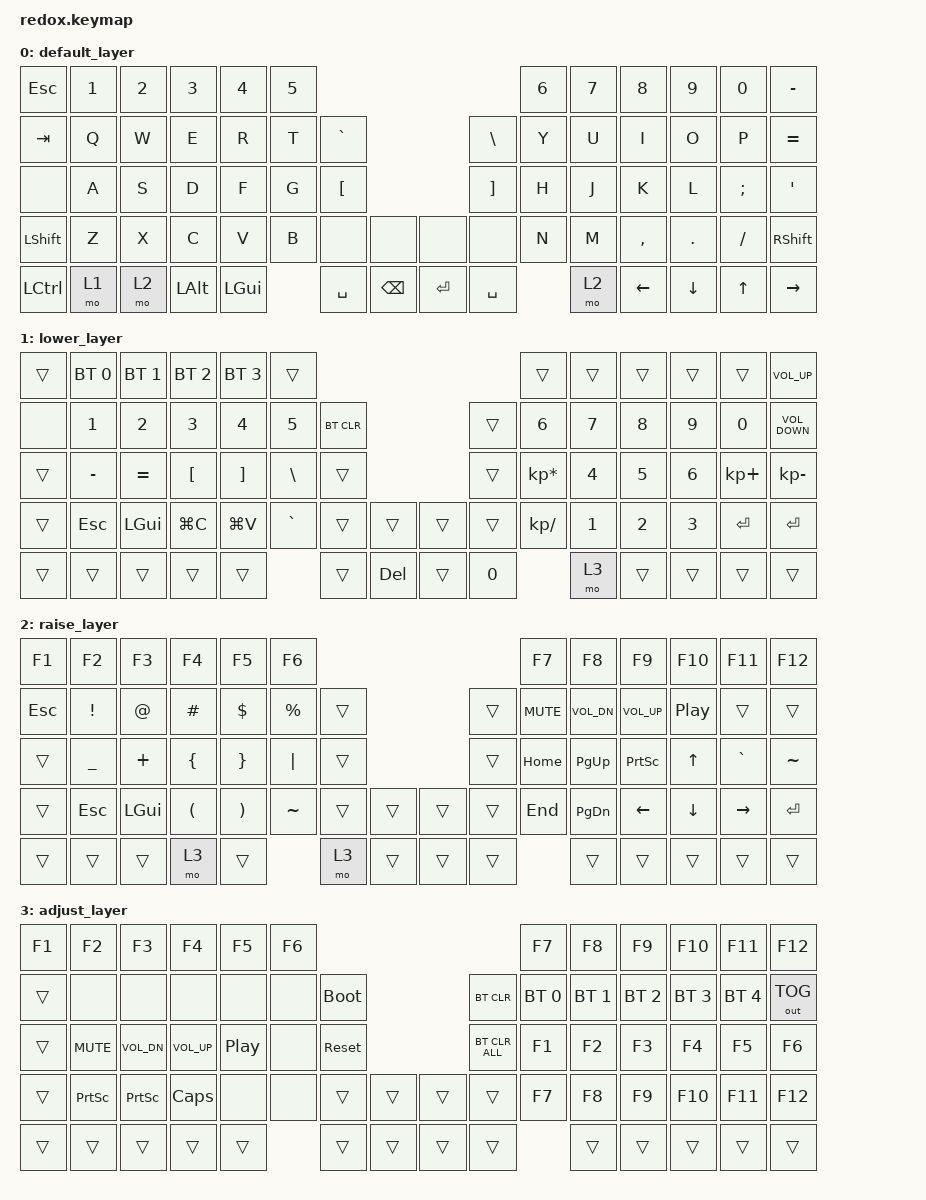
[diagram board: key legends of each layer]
/*
 * Copyright (c) 2021 The ZMK Contributors
 *
 * SPDX-License-Identifier: MIT
 */

#include <behaviors.dtsi>
#include <dt-bindings/zmk/bt.h>
#include <dt-bindings/zmk/keys.h>
#include <dt-bindings/zmk/outputs.h>

/ {
    keymap {
        compatible = "zmk,keymap";

        default_layer {
            bindings = <
&kp ESC    &kp N1  &kp N2  &kp N3        &kp N4        &kp N5                                                                 &kp N6  &kp N7  &kp N8     &kp N9    &kp N0    &kp MINUS
&kp TAB    &kp Q   &kp W   &kp E         &kp R         &kp T   &kp GRAVE                                   &kp BSLH           &kp Y   &kp U   &kp I      &kp O     &kp P     &kp EQUAL
&none      &kp A   &kp S   &kp D         &kp F         &kp G   &kp LEFT_BRACKET                            &kp RIGHT_BRACKET  &kp H   &kp J   &kp K      &kp L     &kp SEMI  &kp SQT
&kp LSHFT  &kp Z   &kp X   &kp C         &kp V         &kp B   &none             &none            &none    &none              &kp N   &kp M   &kp COMMA  &kp DOT   &kp FSLH  &kp RSHFT
&kp LCTRL  &mo 1   &mo 2   &kp LEFT_ALT  &kp LEFT_GUI          &kp SPACE         &kp BACKSPACE    &kp RET  &kp SPACE                  &mo 2   &kp LEFT   &kp DOWN  &kp UP    &kp RIGHT
            >;
        };

        lower_layer {
            bindings = <
&trans  &bt BT_SEL 0  &bt BT_SEL 1  &bt BT_SEL 2  &bt BT_SEL 3  &trans                                            &trans           &trans  &trans  &trans  &trans       &kp C_VOLUME_UP
&none   &kp N1        &kp N2        &kp N3        &kp N4        &kp N5     &bt BT_CLR                     &trans  &kp N6           &kp N7  &kp N8  &kp N9  &kp N0       &kp C_VOLUME_DOWN
&trans  &kp MINUS     &kp EQUAL     &kp LBKT      &kp RBKT      &kp BSLH   &trans                         &trans  &kp KP_MULTIPLY  &kp N4  &kp N5  &kp N6  &kp KP_PLUS  &kp KP_MINUS
&trans  &kp ESC       &kp LGUI      &kp LG(C)     &kp LG(V)     &kp GRAVE  &trans      &trans     &trans  &trans  &kp KP_DIVIDE    &kp N1  &kp N2  &kp N3  &kp RET      &kp RET
&trans  &trans        &trans        &trans        &trans                   &trans      &kp DEL    &trans  &kp N0                   &mo 3   &trans  &trans  &trans       &trans
            >;
        };

        raise_layer {
            bindings = <
&kp F1   &kp F2     &kp F3    &kp F4    &kp F5    &kp F6                                       &kp F7      &kp F8        &kp F9        &kp F10           &kp F11    &kp F12
&kp ESC  &kp EXCL   &kp AT    &kp HASH  &kp DLLR  &kp PRCNT  &trans                    &trans  &kp K_MUTE  &kp C_VOL_DN  &kp C_VOL_UP  &kp C_PLAY_PAUSE  &trans     &trans
&trans   &kp UNDER  &kp PLUS  &kp LBRC  &kp RBRC  &kp PIPE   &trans                    &trans  &kp HOME    &kp PG_UP     &kp PSCRN     &kp UP            &kp GRAVE  &kp TILDE
&trans   &kp ESC    &kp LGUI  &kp LPAR  &kp RPAR  &kp TILDE  &trans  &trans    &trans  &trans  &kp END     &kp PG_DN     &kp LEFT      &kp DOWN          &kp RIGHT  &kp RET
&trans   &trans     &trans    &mo 3     &trans               &mo 3   &trans    &trans  &trans              &trans        &trans        &trans            &trans     &trans
            >;
        };

        adjust_layer {
            bindings = <
&kp F1  &kp F2      &kp F3        &kp F4        &kp F5            &kp F6                                                 &kp F7        &kp F8        &kp F9        &kp F10       &kp F11       &kp F12
&trans  &none       &none         &none         &none             &none   &bootloader                    &bt BT_CLR      &bt BT_SEL 0  &bt BT_SEL 1  &bt BT_SEL 2  &bt BT_SEL 3  &bt BT_SEL 4  &out OUT_TOG
&trans  &kp K_MUTE  &kp C_VOL_DN  &kp C_VOL_UP  &kp C_PLAY_PAUSE  &none   &sys_reset                     &bt BT_CLR_ALL  &kp F1        &kp F2        &kp F3        &kp F4        &kp F5        &kp F6
&trans  &kp PSCRN   &kp PSCRN     &kp CLCK      &none             &none   &trans       &trans    &trans  &trans          &kp F7        &kp F8        &kp F9        &kp F10       &kp F11       &kp F12
&trans  &trans      &trans        &trans        &trans                    &trans       &trans    &trans  &trans                        &trans        &trans        &trans        &trans        &trans
            >;
        };
    };
};
